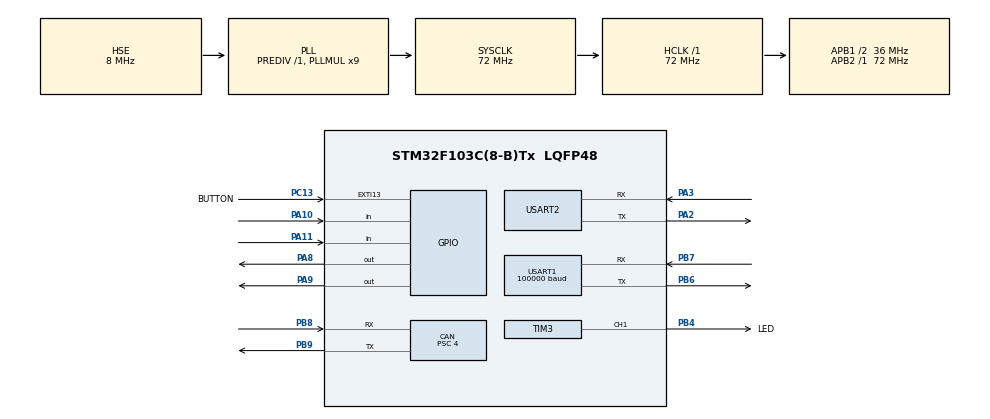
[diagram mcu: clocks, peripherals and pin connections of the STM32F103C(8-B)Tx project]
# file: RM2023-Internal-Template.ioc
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CAN.BS1=CAN_BS1_6TQ
CAN.BS2=CAN_BS2_2TQ
CAN.CalculateBaudRate=1000000
CAN.CalculateTimeBit=1000
CAN.CalculateTimeQuantum=111.11111111111111
CAN.Mode=CAN_MODE_NORMAL
CAN.Prescaler=4
Dma.Request0=USART1_RX
Dma.USART1_RX.0.Direction=DMA_PERIPH_TO_MEMORY
Dma.USART1_RX.0.Instance=DMA1_Channel5
Dma.USART1_RX.0.MemDataAlignment=DMA_MDATAALIGN_BYTE
Dma.USART1_RX.0.MemInc=DMA_MINC_ENABLE
Dma.USART1_RX.0.Mode=DMA_NORMAL
Dma.USART1_RX.0.PeriphDataAlignment=DMA_PDATAALIGN_BYTE
Dma.USART1_RX.0.PeriphInc=DMA_PINC_DISABLE
Dma.USART1_RX.0.Priority=DMA_PRIORITY_HIGH
Mcu.Family=STM32F1
Mcu.Name=STM32F103C(8-B)Tx
Mcu.Package=LQFP48
NVIC.CAN1_RX1_IRQn=true\:10\:0\:true\:false\:true\:true\:true\:true
NVIC.DMA1_Channel5_IRQn=true\:10\:0\:true\:false\:true\:false\:true\:true
NVIC.EXTI15_10_IRQn=true\:10\:0\:true\:false\:true\:true\:true\:true
NVIC.PriorityGroup=NVIC_PRIORITYGROUP_4
NVIC.TIM1_UP_IRQn=true\:15\:0\:false\:false\:true\:false\:true\:true
NVIC.TimeBase=TIM1_UP_IRQn
NVIC.TimeBaseIP=TIM1
NVIC.USART1_IRQn=true\:10\:0\:true\:false\:true\:true\:true\:true
NVIC.USART2_IRQn=true\:10\:0\:true\:false\:true\:true\:true\:true
NVIC.USB_LP_CAN1_RX0_IRQn=true\:10\:0\:true\:false\:true\:true\:true\:true
PA0-WKUP.Signal=S_TIM2_CH1_ETR
PA1.Signal=S_TIM2_CH2
PA10.Signal=GPIO_Input
PA11.Signal=GPIO_Input
PA13.Mode=Serial_Wire
PA13.Signal=SYS_JTMS-SWDIO
PA14.Mode=Serial_Wire
PA14.Signal=SYS_JTCK-SWCLK
PA2.Mode=Asynchronous
PA2.Signal=USART2_TX
PA3.GPIO_PuPd=GPIO_PULLUP
PA3.Mode=Asynchronous
PA3.Signal=USART2_RX
PA8.Signal=GPIO_Output
PA9.Signal=GPIO_Output
PB4.GPIO_Label=LED
PB4.Signal=S_TIM3_CH1
PB6.Mode=Asynchronous
PB6.Signal=USART1_TX
PB7.GPIO_PuPd=GPIO_PULLUP
PB7.Mode=Asynchronous
PB7.Signal=USART1_RX
PB8.GPIO_PuPd=GPIO_PULLUP
PB8.Mode=CAN_Activate
PB8.Signal=CAN_RX
PB9.Mode=CAN_Activate
PB9.Signal=CAN_TX
PC13-TAMPER-RTC.GPIO_Label=BUTTON
PC13-TAMPER-RTC.Signal=GPXTI13
PD0-OSC_IN.Mode=HSE-External-Oscillator
PD0-OSC_IN.Signal=RCC_OSC_IN
PD1-OSC_OUT.Mode=HSE-External-Oscillator
PD1-OSC_OUT.Signal=RCC_OSC_OUT
ProjectManager.HeapSize=0x200
ProjectManager.StackSize=0x400
ProjectManager.TargetToolchain=Makefile
RCC.AHBFreq_Value=72000000
RCC.APB1CLKDivider=RCC_HCLK_DIV2
RCC.APB1Freq_Value=36000000
RCC.APB1TimFreq_Value=72000000
RCC.APB2Freq_Value=72000000
RCC.APB2TimFreq_Value=72000000
RCC.HCLKFreq_Value=72000000
RCC.PLLMUL=RCC_PLL_MUL9
RCC.PLLSourceVirtual=RCC_PLLSOURCE_HSE
RCC.SYSCLKFreq_VALUE=72000000
RCC.SYSCLKSource=RCC_SYSCLKSOURCE_PLLCLK
RCC.USBFreq_Value=72000000
SH.S_TIM2_CH1_ETR.0=TIM2_CH1
SH.S_TIM2_CH2.0=TIM2_CH2
SH.S_TIM3_CH1.0=TIM3_CH1,PWM Generation1 CH1
TIM3.Channel-PWM\ Generation1\ CH1=TIM_CHANNEL_1
TIM3.Period=500
USART1.BaudRate=100000
USART1.Mode=MODE_TX_RX
USART1.Parity=PARITY_EVEN
USART1.VirtualMode=VM_ASYNC
USART1.WordLength=WORDLENGTH_9B
USART2.Parity=PARITY_EVEN
USART2.VirtualMode=VM_ASYNC
USART2.WordLength=WORDLENGTH_9B
VP_SYS_VS_tim1.Mode=TIM1
VP_TIM3_VS_ClockSourceINT.Mode=Internal
board=custom

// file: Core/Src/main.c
/* USER CODE BEGIN Header */
/**
  ******************************************************************************
  * @file           : main.c
  * @brief          : Main program body
  ******************************************************************************
  * @attention
  *
  * Copyright (c) 2022 STMicroelectronics.
  * All rights reserved.
  *
  * This software is licensed under terms that can be found in the LICENSE file
  * in the root directory of this software component.
  * If no LICENSE file comes with this software, it is provided AS-IS.
  *
  ******************************************************************************
  */
/* USER CODE END Header */
#include "main.h"
#include "can.h"
#include "dma.h"
#include "tim.h"
#include "usart.h"
#include "gpio.h"

/* USER CODE BEGIN Includes */
#include <string.h>
/* USER CODE END Includes */

void SystemClock_Config(void);
long int status,hello;
char uartRxData[6] = {}; // Declare Rx buffer
char uartTxData[7] = {}; // Declare Tx buffer
// callback function for uart rx

// Declear Rx buffer
void uartRxCallback(UART_HandleTypeDef *huart, uint16_t size)
{
char*ptr;
status = strtol (uartRxData,&ptr,10);
/*long int  reverse = 0, remainder;
  while (lib1 != 0) {
    remainder = lib1 % 10;
    reverse = reverse * 10 + remainder;
    lib1 /= 10;}*/

HAL_UARTEx_ReceiveToIdle_IT(&huart2, (uint8_t *)uartRxData, 6);
  // Some operation right after the reception
  // E.g. Check length, conversion
  // Start UART reception again

}

int main(void)
{

  /* MCU Configuration--------------------------------------------------------*/

  /* Reset of all peripherals, Initializes the Flash interface and the Systick. */
  HAL_Init();

  /* Configure the system clock */
  SystemClock_Config();

  /* Initialize all configured peripherals */
  MX_GPIO_Init();
  MX_DMA_Init();
  MX_CAN_Init();
  MX_USART1_UART_Init();
  MX_USART2_UART_Init();
  MX_TIM3_Init();
  /* USER CODE BEGIN 2 */
HAL_UART_RegisterRxEventCallback(&huart2, uartRxCallback);
HAL_UARTEx_ReceiveToIdle_IT(&huart2, (uint8_t *)uartRxData, 6);
  /* USER CODE END 2 */

  /* Infinite loop */
  /* USER CODE BEGIN WHILE */
static int counter = 0;
static int counterBlue = 0;
static int counterRed = 0;
  HAL_GPIO_WritePin(GPIOA, GPIO_PIN_6, GPIO_PIN_RESET);
while (1)
{
  // Do task per 1ms
  if(counter < 200)
  {
    if (status == 1)
  {   counterBlue++;
      if(counterBlue>20)
      {
        counterBlue=0;
        hello=10;
        HAL_GPIO_WritePin(GPIOB, GPIO_PIN_3, GPIO_PIN_SET);
        HAL_Delay(500);
        HAL_GPIO_WritePin(GPIOB, GPIO_PIN_3, GPIO_PIN_RESET);
        status = 0;
        HAL_Delay(500);
      }
  }
    if (status == 2)
{     counterRed++;
      if(counterRed>20)
        {counterRed = 0;
        HAL_GPIO_WritePin(GPIOA, GPIO_PIN_8, GPIO_PIN_SET);
        HAL_Delay(500);
        HAL_GPIO_WritePin(GPIOA, GPIO_PIN_8, GPIO_PIN_RESET);
        status = 0;
        HAL_Delay(500);
        }
}
    counter++;

    // Do task per 200ms
  }

  counter = 0;
  HAL_Delay(1);
    /* USER CODE END WHILE */

  }
}

void SystemClock_Config(void)
{
  RCC_OscInitTypeDef RCC_OscInitStruct = {0};
  RCC_ClkInitTypeDef RCC_ClkInitStruct = {0};

  /** Initializes the RCC Oscillators according to the specified parameters
  * in the RCC_OscInitTypeDef structure.
  */
  RCC_OscInitStruct.OscillatorType = RCC_OSCILLATORTYPE_HSE;
  RCC_OscInitStruct.HSEState = RCC_HSE_ON;
  RCC_OscInitStruct.HSEPredivValue = RCC_HSE_PREDIV_DIV1;
  RCC_OscInitStruct.HSIState = RCC_HSI_ON;
  RCC_OscInitStruct.PLL.PLLState = RCC_PLL_ON;
  RCC_OscInitStruct.PLL.PLLSource = RCC_PLLSOURCE_HSE;
  RCC_OscInitStruct.PLL.PLLMUL = RCC_PLL_MUL9;
  if (HAL_RCC_OscConfig(&RCC_OscInitStruct) != HAL_OK)
  {
    Error_Handler();
  }

  /** Initializes the CPU, AHB and APB buses clocks
  */
  RCC_ClkInitStruct.ClockType = RCC_CLOCKTYPE_HCLK|RCC_CLOCKTYPE_SYSCLK
                              |RCC_CLOCKTYPE_PCLK1|RCC_CLOCKTYPE_PCLK2;
  RCC_ClkInitStruct.SYSCLKSource = RCC_SYSCLKSOURCE_PLLCLK;
  RCC_ClkInitStruct.AHBCLKDivider = RCC_SYSCLK_DIV1;
  RCC_ClkInitStruct.APB1CLKDivider = RCC_HCLK_DIV2;
  RCC_ClkInitStruct.APB2CLKDivider = RCC_HCLK_DIV1;

  if (HAL_RCC_ClockConfig(&RCC_ClkInitStruct, FLASH_LATENCY_2) != HAL_OK)
  {
    Error_Handler();
  }
}

void HAL_TIM_PeriodElapsedCallback(TIM_HandleTypeDef *htim)
{
  if (htim->Instance == TIM1) {
    HAL_IncTick();
  }
}

void Error_Handler(void)
{
  __disable_irq();
  while (1)
  {
  }
}
